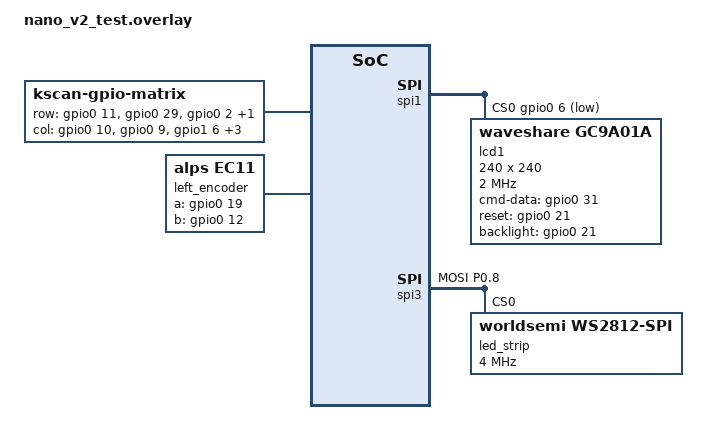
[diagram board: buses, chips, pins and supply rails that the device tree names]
/*
 * Copyright (c) 2023 The ZMK Contributors
 *
 * SPDX-License-Identifier: MIT
 */

#include "nano_v2_test.dtsi"
#include <dt-bindings/led/led.h>


 &pinctrl {
    spi3_default: spi3_default {
        group1 {
             psels = <NRF_PSEL(SPIM_MOSI, 0, 8)>;
        };
    };

     spi3_sleep: spi3_sleep {
         group1 {
             psels = <NRF_PSEL(SPIM_MOSI, 0, 8)>;
             low-power-enable;
         };
     };
    
//     spi1_default: spi1_default {
//         group1 {
//             psels = <NRF_PSEL(SPIM_SCK, 0, 20)>, //SCL
//                 <NRF_PSEL(SPIM_MOSI, 0, 17)>,  //SDA
//                 <NRF_PSEL(SPIM_MISO, 0, 25)>;
//         };
//     };
//     spi1_sleep: spi1_sleep {
//         group1 {
//             psels = <NRF_PSEL(SPIM_SCK, 0, 20)>,    //SCL
//                 <NRF_PSEL(SPIM_MOSI, 0, 17)>,   //SDA
//                 <NRF_PSEL(SPIM_MISO, 0, 25)>;
//             low-power-enable;
//         };
//     };
 };

&spi1 {
	cs-gpios = <&gpio0 6 GPIO_ACTIVE_LOW>;  //CS
	status = "okay";

	lcd1: lcd1@0 {
		compatible = "waveshare,gc9a01a";
		spi-max-frequency = <2000000>;
		reg = <0>;
		cmd-data-gpios = <&gpio0 31  GPIO_ACTIVE_HIGH>;  //DC
		reset-gpios = <&gpio0 21 GPIO_ACTIVE_HIGH>;
		backlight-gpios = <&gpio0 21 GPIO_ACTIVE_HIGH>;
		width = <240>;
		height = <240>;
		pixel-format = <0>;
        //display-inversion;
		rotation = <0>;
		status = "okay";
	};
};

 &spi3 {
    compatible = "nordic,nrf-spim";
     status = "okay";

     pinctrl-0 = <&spi3_default>;
     pinctrl-1 = <&spi3_sleep>;
     pinctrl-names = "default", "sleep";

     led_strip: ws2812@0 {
         compatible = "worldsemi,ws2812-spi";

         /* SPI */
         reg = <0>; /* ignored, but necessary for SPI bindings */
         spi-max-frequency = <4000000>;

         /* WS2812 */
         chain-length = <1>; /* arbitrary; change at will */
         spi-one-frame = <0x70>;
         spi-zero-frame = <0x40>;

         color-mapping = <
             LED_COLOR_ID_GREEN
             LED_COLOR_ID_RED
            LED_COLOR_ID_BLUE
         >;
     };
 };

/ {
    chosen {
        zmk,kscan = &kscan;
        zephyr,display = &lcd1;
        zmk,underglow = &led_strip;
    };

    kscan: kscan {
        compatible = "zmk,kscan-gpio-matrix";
        wakeup-source;

        diode-direction = "col2row";

        row-gpios
            = <&gpio0 11 (GPIO_PULL_DOWN | GPIO_ACTIVE_HIGH)>   // Row-0
            , <&gpio0 29 (GPIO_PULL_DOWN | GPIO_ACTIVE_HIGH)>   // Row-1
            , <&gpio0  2 (GPIO_PULL_DOWN | GPIO_ACTIVE_HIGH)>   // Row-2
            , <&gpio1 15 (GPIO_PULL_DOWN | GPIO_ACTIVE_HIGH)>   // Row-3
                 ;

        col-gpios
            = <&gpio0 10 GPIO_ACTIVE_HIGH>   // Col-0
            , <&gpio0  9 GPIO_ACTIVE_HIGH>   // Col-1
            , <&gpio1  6 GPIO_ACTIVE_HIGH>   // Col-2
            , <&gpio1  4 GPIO_ACTIVE_HIGH>   // Col-3
            , <&gpio0  7 GPIO_ACTIVE_HIGH>   // Col-4
            , <&gpio1  0 GPIO_ACTIVE_HIGH>   // Col-5
            ;
    };

    left_encoder: left_encoder {
        compatible = "alps,ec11";
        steps = <80>;
        a-gpios = <&gpio0  19 (GPIO_ACTIVE_HIGH | GPIO_PULL_UP)>;
        b-gpios = <&gpio0  12 (GPIO_ACTIVE_HIGH | GPIO_PULL_UP)>;
        status = "okay";
    };


    sensors: sensors {
        compatible = "zmk,keymap-sensors";
        //sensors = <&left_encoder1 &right_encoder1>;
        sensors = <&left_encoder>;
        triggers-per-rotation = <20>;
    };
};




